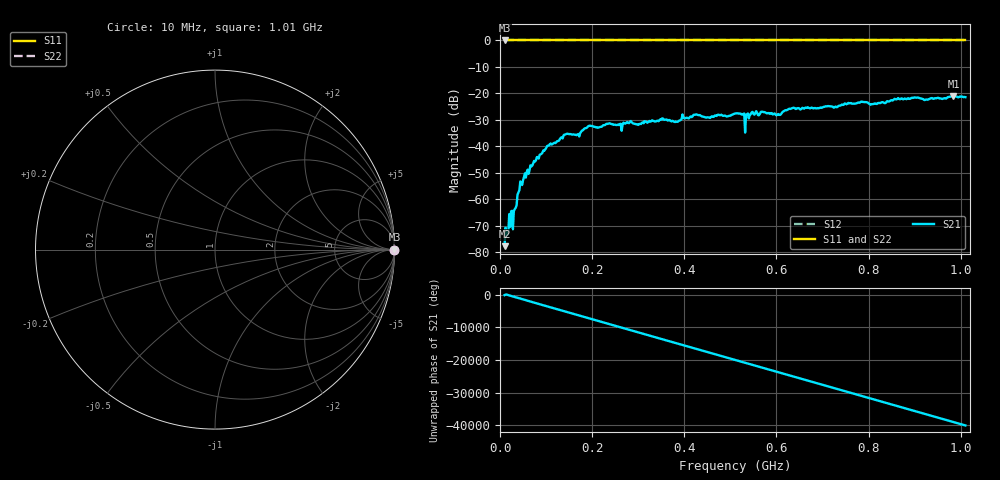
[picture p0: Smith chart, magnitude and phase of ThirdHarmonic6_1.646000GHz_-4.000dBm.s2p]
! 8/16/2025 7:41:44 PM
! C:\ANRITSUVNA\TEMP\TEMP.S2P
! CHANNEL.1
! TR.MEASUREMENT
! RAW.DATA
! RF.CORRECTION.OFF
! AVERAGING.OFF
! IF.BANDWIDTH: 5KHZ
! SWEEPTYPE:  FREQ.SWEEP(Linear)
! Reference Plane Port Info
! PORT:  PORT1  PORT2
! DISTANCE:  0  m  0  m
! TIME:  0  s  0  s
! PHASE.OFFSET:  0  deg.  0  deg.
! LOSS:  0  dB  0  dB
! REF.LOSS:  0  dB  0  dB
! REF.FREQ:  0  Hz  0  Hz
! Power Info
! POWER:  -20  dBm  -20  dBm
! EFF.POWER:  -20  dBm  -20  dBm
! SOURCE.ATTEN:  0  dB  0  dB
! TEST.ATTEN:  0  dB  0  dB
# GHZ S RI R 50.0
! FREQ.GHZ  S11RE  S11IM  S21RE  S21IM  S12RE  S12IM  S22RE  S22IM
!; PortSelection: Port_12
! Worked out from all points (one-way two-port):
!   501 points, 10 MHz to 1.01 GHz, reference 50 ohm
!   highest |S21| = -21.04 dB at 984 MHz (marker M1); lowest = -77.7 dB at 10 MHz (marker M2)
!   lowest |S11| = 0.0 dB at 10 MHz (marker M3)
!   |S11| at or under -10 dB: nowhere
!   |S22| runs from 0.0 to 0.0 dB; largest |S21 - S12| = 1.1
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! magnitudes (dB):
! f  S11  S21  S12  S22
! 10 MHz  0.0  -77.7  0.0  0.0
! 22 MHz  0.0  -70.4  0.0  0.0
! 32 MHz  0.0  -63.7  0.0  0.0
! 42 MHz  0.0  -56.6  0.0  0.0
! 70 MHz  0.0  -47.3  0.0  0.0
! 106 MHz  0.0  -39.7  0.0  0.0
! 142 MHz  0.0  -35.5  0.0  0.0
! 168 MHz  0.0  -35.6  0.0  0.0
! 178 MHz  0.0  -34.0  0.0  0.0
! 196 MHz  0.0  -32.2  0.0  0.0
! 344 MHz  0.0  -30.5  0.0  0.0
! 382 MHz  0.0  -30.7  0.0  0.0
! 424 MHz  0.0  -28.0  0.0  0.0
! 510 MHz  0.0  -27.6  0.0  0.0
! 536 MHz  0.0  -27.9  0.0  0.0
! 552 MHz  0.0  -28.0  0.0  0.0
! 604 MHz  0.0  -27.8  0.0  0.0
! 634 MHz  0.0  -25.6  0.0  0.0
! 678 MHz  0.0  -25.5  0.0  0.0
! 844 MHz  0.0  -23.1  0.0  0.0
! 984 MHz  0.0  -21.0  0.0  0.0
! 1.01 GHz  0.0  -21.4  0.0  0.0
